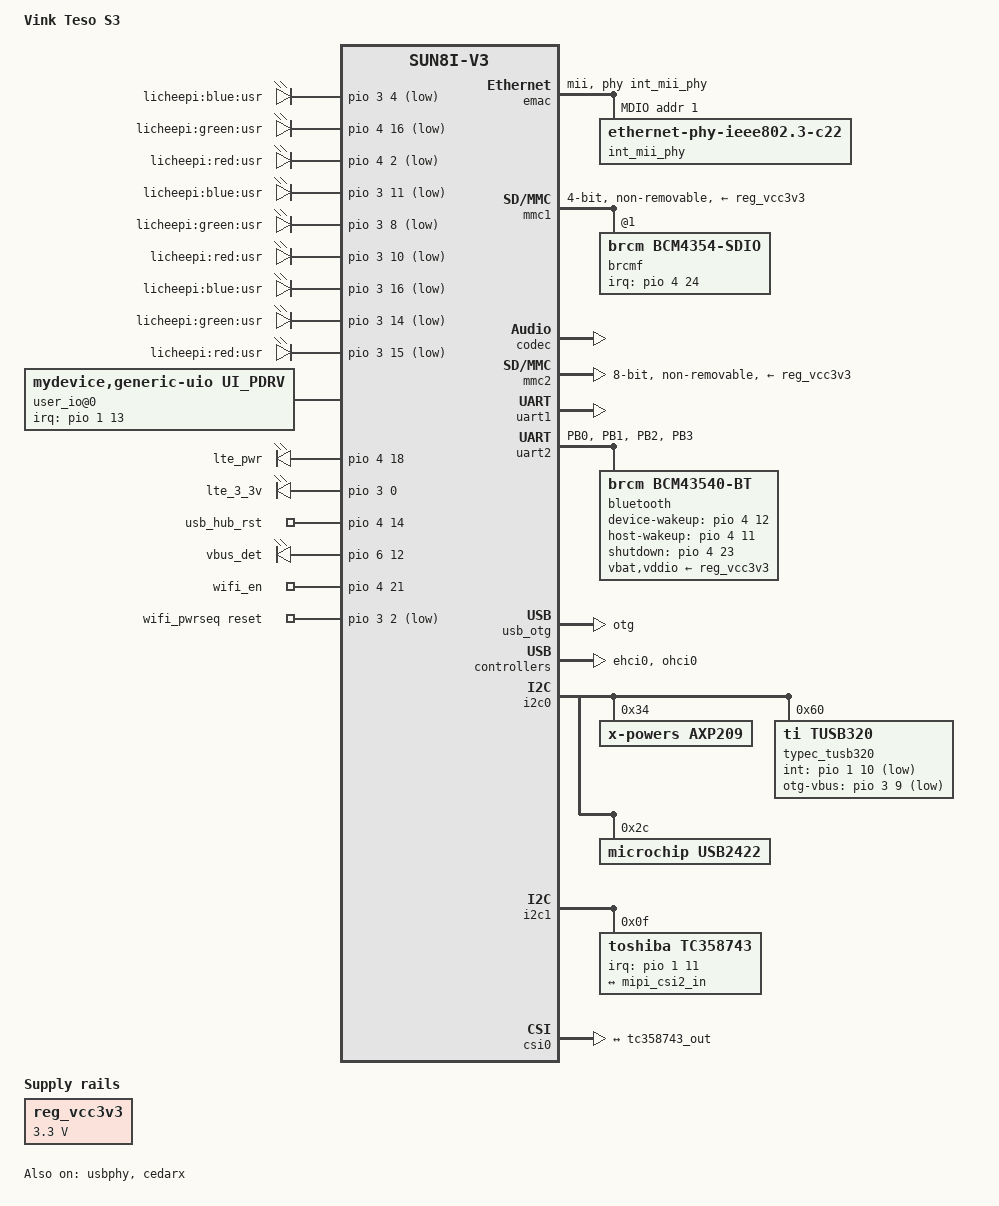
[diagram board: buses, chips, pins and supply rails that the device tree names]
// SPDX-License-Identifier: (GPL-2.0+ OR MIT)
/*
 * Copyright (C) 2019 Icenowy Zheng <icenowy@aosc.io>
 */

/dts-v1/;
#include "sun8i-v3.dtsi"

#include <dt-bindings/gpio/gpio.h>
#include <dt-bindings/input/input.h>

/ {
	model = "Vink Teso S3";
	compatible = "sipeed,lichee-zero-plus", "sochip,s3",
		     "allwinner,sun8i-v3";

	aliases {
		serial0 = &uart1;
		serial1 = &uart2;
	};

	chosen {
		stdout-path = "serial0:115200n8";
	};
	
	leds {
		compatible = "gpio-leds";
		
		blue1_led {
			label = "licheepi:blue:usr";
			gpios = <&pio 3 4 GPIO_ACTIVE_LOW>; /* PD4 */
		};

		green1_led {
			label = "licheepi:green:usr";
			gpios = <&pio 4 16 GPIO_ACTIVE_LOW>; /* PE16 */
			default-state = "on";
		};

		red1_led {
			label = "licheepi:red:usr";
			gpios = <&pio 4 2 GPIO_ACTIVE_LOW>; /* PE2 */
		};
		
        blue2_led {
			label = "licheepi:blue:usr";
			gpios = <&pio 3 11 GPIO_ACTIVE_LOW>; /* PD11 */
		};

		green2_led {
			label = "licheepi:green:usr";
			gpios = <&pio 3 8 GPIO_ACTIVE_LOW>; /* PD8 */
			default-state = "on";
		};

		red2_led {
			label = "licheepi:red:usr";
			gpios = <&pio 3 10 GPIO_ACTIVE_LOW>; /* PD10 */
		};
		
//        blue3_led {
//			label = "licheepi:blue:usr";
//			gpios = <&pio 1 10 GPIO_ACTIVE_LOW>; /* PB10 */
//		};
//
//		green3_led {
//			label = "licheepi:green:usr";
//			gpios = <&pio 1 6 GPIO_ACTIVE_LOW>; /* PB6 */
//			default-state = "on";
//		};
//
//		red3_led {
//			label = "licheepi:red:usr";
//			gpios = <&pio 1 7 GPIO_ACTIVE_LOW>; /* PB7 */
//		};
		
        blue4_led {
			label = "licheepi:blue:usr";
			gpios = <&pio 3 16 GPIO_ACTIVE_LOW>; /* PD16 */
		};

		green4_led {
			label = "licheepi:green:usr";
			gpios = <&pio 3 14 GPIO_ACTIVE_LOW>; /* PD14 */
			default-state = "on";
		};

		red4_led {
			label = "licheepi:red:usr";
			gpios = <&pio 3 15 GPIO_ACTIVE_LOW>; /* PD15 */
		};
	};

    user_io@0 {
        compatible = "mydevice,generic-uio,ui_pdrv";
        status = "okay";
        interrupt-parent = <&pio>;
        interrupts = <1 13 IRQ_TYPE_EDGE_FALLING>; /* PB13 */
    };
	
    custom_gpio_export {
        compatible = "gpio-leds";

        lte_pwr {
			label = "lte_pwr";
			gpios = <&pio 4 18 GPIO_ACTIVE_HIGH>; /* PE18 */
			default-state = "off";
		};

        lte_3_3v {
			label = "lte_3_3v";
			gpios = <&pio 3 0 GPIO_ACTIVE_HIGH>; /* PD0 */
			default-state = "on";
		};

        usb_hub_rst {
			label = "usb_hub_rst";
			gpios = <&pio 4 14 GPIO_ACTIVE_HIGH>; /* PE14 */
			default-state = "on";
		};

        vbus_det {
			label = "vbus_det";
            gpios = <&pio 6 12 GPIO_ACTIVE_HIGH>; /* PG12 -- VBUS_DET */
			default-state = "off";
		};
		
		wifi_en {
			label = "wifi_en";
            gpios  = <&pio 4 21 GPIO_ACTIVE_HIGH>; /* PE21 */
			default-state = "on";
		};
	};

	reg_vcc3v3: vcc3v3 {
		compatible = "regulator-fixed";
		regulator-name = "vcc3v3";
		regulator-min-microvolt = <3300000>;
		regulator-max-microvolt = <3300000>;
	};
	wifi_pwrseq: wifi_pwrseq {
		compatible = "mmc-pwrseq-simple";
		reset-gpios = <&pio 3 2 GPIO_ACTIVE_LOW>; /* PD2 */
		clocks = <&rtc 1>;
		clock-names = "ext_clock";
	};
	
    syscon: syscon@1c00000 {
        compatible = "allwinner,sun8i-v3s-system-controller", "allwinner,sun8i-h3-system-control", "syscon";
        reg = <0x01c00000 0x1000>;
        #address-cells = <1>;
        #size-cells = <1>;
        ranges;

        sram_c: sram@1d00000 {
            compatible = "mmio-sram";
            reg = <0x01d00000 0x80000>;
            #address-cells = <1>;
            #size-cells = <1>;
            ranges = <0 0x01d00000 0x80000>;

            ve_sram: sram-section@0 {
                compatible = "allwinner,sun8i-v3s-sram-c", "allwinner,sun4i-a10-sram-c1";
                reg = <0x000000 0x80000>;
            };
        };
    };	
	
	cedarx: video-codec@1c0e000 {
        compatible = "allwinner,sun8i-v3-cedar";
        reg = <0x01c0e000 0x1000>;
        clocks = <&ccu CLK_BUS_VE>, <&ccu CLK_VE>, <&ccu CLK_DRAM_VE>;
        clock-names = "ahb", "mod", "ram";
        resets = <&ccu RST_BUS_VE>;
        interrupts = <GIC_SPI 58 IRQ_TYPE_LEVEL_HIGH>;
        allwinner,sram = <&ve_sram 1>;
        status = "okay";
    };
        
    ion: ion {
        compatible = "allwinner,sunxi-ion";
        status = "okay";
        heap_cma@0{
            compatible = "allwinner,cma";
            heap-name  = "cma";
            heap-id    = <0x4>;
            heap-base  = <0x0>;
            heap-size  = <0x0>;
            heap-type  = "ion_cma";
        };
    };
	
    emac: ethernet@1c30000 {
            compatible = "allwinner,sun8i-h3-emac";
            syscon = <&syscon>;
            reg = <0x01c30000 0x10000>;
            interrupts = <GIC_SPI 82 IRQ_TYPE_LEVEL_HIGH>;
            interrupt-names = "macirq";
            resets = <&ccu RST_BUS_EMAC>;
            reset-names = "stmmaceth";
            clocks = <&ccu CLK_BUS_EMAC>;
            clock-names = "stmmaceth";
            status = "disabled";

            mdio: mdio {
                #address-cells = <1>;
                #size-cells = <0>;
                compatible = "snps,dwmac-mdio";
            };

            mdio-mux {
                compatible = "allwinner,sun8i-h3-mdio-mux";
                #address-cells = <1>;
                #size-cells = <0>;

                mdio-parent-bus = <&mdio>;
                /* Only one MDIO is usable at the time */
                internal_mdio: mdio@1 {
                    compatible = "allwinner,sun8i-h3-mdio-internal";
                    reg = <1>;
                    #address-cells = <1>;
                    #size-cells = <0>;

                    int_mii_phy: ethernet-phy@1 {
                        compatible = "ethernet-phy-ieee802.3-c22";
                        reg = <1>;
                        clocks = <&ccu CLK_BUS_EPHY>;
                        resets = <&ccu RST_BUS_EPHY>;
                    };
                };

                external_mdio: mdio@2 {
                    reg = <2>;
                    #address-cells = <1>;
                    #size-cells = <0>;
                };
            };
        };
    
    udmabuf@0x00 {
		compatible = "ikwzm,u-dma-buf";
		device-name = "udmabuf0";
		size = <0x008E7000>;
    };
};

&emac {
    phy-handle = <&int_mii_phy>;
    phy-mode = "mii";
    allwinner,use-internal-phy;
    status = "okay";
};

&mmc1 {
	vmmc-supply = <&reg_vcc3v3>;
	vqmmc-supply = <&reg_vcc3v3>;
	mmc-pwrseq = <&wifi_pwrseq>;
	bus-width = <4>;
	non-removable;
	no-1-8-v;
	status = "okay";

	brcmf: wifi@1 {
		reg = <1>;
		compatible = "brcm,bcm4354-sdio";
		interrupt-parent = <&pio>;
		interrupts = <4 24 IRQ_TYPE_LEVEL_LOW>; /* PE24 / EINT10 */
		interrupt-names = "host-wake";
    };
};

&codec {
	allwinner,audio-routing =
		"LINEIN", "Line In",
		"MIC1",	"MBIAS",
		"MIC1", "Mic";
	status = "okay";
};

&mmc2 {
    non-removable;
    vmmc-supply = <&reg_vcc3v3>;
    bus-width = <8>;
    max-speed = <50000000>;
    mmc-ddr-3_3v;
    cap-mmc-hw-reset;
    status = "okay";
};

&uart1 {
	pinctrl-names = "default";
	status = "okay";
};

&uart2 {
	pinctrl-names = "default";
	pinctrl-0 = <&uart2_pins>, <&uart2_rts_cts_pins>;
	uart-has-rtscts;
	status = "okay";

	bluetooth {
		compatible = "brcm,bcm43540-bt";
		clocks = <&rtc 1>;
		clock-names = "lpo";
		vbat-supply = <&reg_vcc3v3>;
		vddio-supply = <&reg_vcc3v3>;
		device-wakeup-gpios = <&pio 4 12 GPIO_ACTIVE_HIGH>; /* PE12 */
		host-wakeup-gpios = <&pio 4 11 GPIO_ACTIVE_HIGH>; /* PE11 */
		shutdown-gpios = <&pio 4 23 GPIO_ACTIVE_HIGH>; /* PE23 */
		max-speed = <1500000>;
	};
};

&pio {

    gpios = <&pio 3 3 GPIO_ACTIVE_LOW>; /* PD3 -- BAL_IN_EN */

    uart2_pins: uart2-pins {
		pins = "PB0", "PB1";
		function = "uart2";
	};
	
	uart2_rts_cts_pins: uart2-rts-cts-pins {
		pins = "PB2", "PB3";
		function = "uart2";
	};
};

&usb_otg {
	dr_mode = "otg";
	status = "okay";
};

&usbphy {
	status = "okay";
};

&ehci0 {
    status = "okay";
};

&ohci0 {
    status = "okay";
};

&i2c0 {
	pinctrl-names = "default";
	pinctrl-0 = <&i2c0_pins>;
	status = "okay";
	
	axp209: pmic@34 {
        compatible = "x-powers,axp209";
		reg = <0x34>;
		interrupt-parent = <&gic>;
        interrupts = <GIC_SPI 32 IRQ_TYPE_LEVEL_HIGH>;
        interrupt-controller;
        #interrupt-cells = <1>; 
        
        axp_gpio: gpio {
            compatible = "x-powers,axp209-gpio";
            gpio-controller;
            #gpio-cells = <2>;
        };
	};
	
    typec_tusb320:tusb320@60 {
        compatible = "ti,tusb320";
        reg = <0x60>;
        int-gpios = <&pio 1 10 GPIO_ACTIVE_LOW>; /* PB10 */
        otg-vbus-gpios = <&pio 3 9 GPIO_ACTIVE_LOW>; /* PD9 */
    };

    usb2422: usb2422@2c {
		compatible = "microchip,usb2422";
		reg = <0x2c>;
	};

};

#include "axp209.dtsi"

&battery_power_supply {
	status = "okay";
};

&axp_gpio {
	gpio1_adc: gpio1-adc {
		pins = "GPIO1";
		function = "adc";
	};
};

&i2c1 {
    pinctrl-names = "default";
    pinctrl-0 = <&i2c1_pins>;
    status = "okay";
    
    tc358743: tc358743@f {
        compatible = "toshiba,tc358743";
		reg = <0x0f>;
		interrupts-extended = <&pio 1 11 IRQ_TYPE_LEVEL_LOW>;
		clocks = <&tc358743_clk>;
		clock-names = "refclk";
		
		tc358743_clk: bridge-clk {
			compatible = "fixed-clock";
			#clock-cells = <0>;
			clock-frequency = <27000000>;
		};

		port {
			tc358743_out: endpoint {
                remote-endpoint = <&mipi_csi2_in>;
                port-index = <0>; /* CSI A */
                        bus-width = <2>; 
                        data-lanes = <1 2 3 4>;
                        clock-lanes = <0>;
                        clock-noncontinuous;
                        link-frequencies = /bits/ 64 <297000000>;
				};
        };
    };
};

&csi0 {
    status = "okay";
    allwinner,mipi-csi-bps = <594000000>;
    port {
        mipi_csi2_in: endpoint {
            remote-endpoint = <&tc358743_out>;
            data-lanes = <1 2 3 4>;
            clock-lanes = <0>;
        };
    };
};

